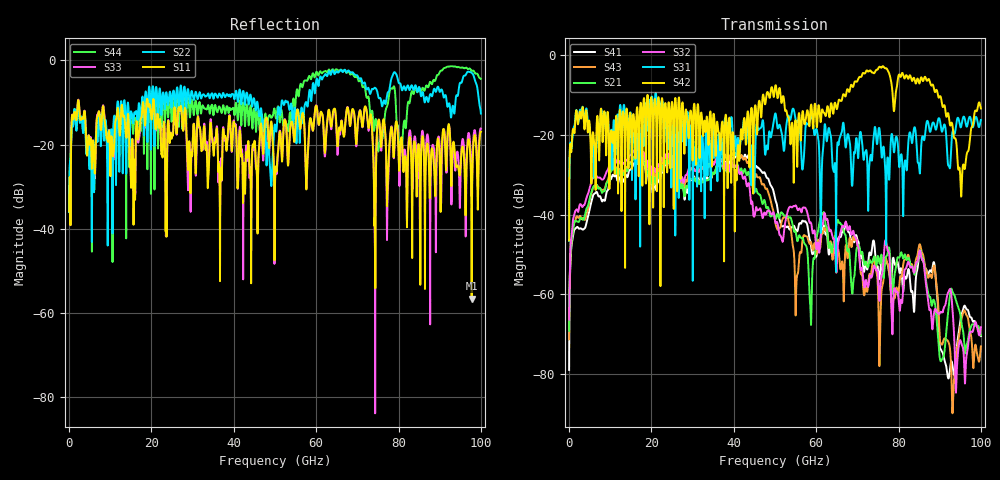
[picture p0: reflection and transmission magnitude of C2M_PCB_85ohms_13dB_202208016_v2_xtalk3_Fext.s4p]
! Info: Touchstone file created by Circ.  Input file=Intel_C2M_200G_3p0in_202208016_staggered.circ
# Hz S RI R 50
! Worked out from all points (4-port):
!   10000 points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, 10 MHz to 100 GHz, reference 50 ohm
!   strongest paths, dB at 10 MHz, 25.01 GHz, 50.01 GHz, 75.01 GHz, 100 GHz:
!     S42: -46.5, -11.7, -8.0, -3.4, -13.3
!     S31: -46.6, -20.0, -14.7, -20.1, -16.2
!     S32: -66.4, -26.1, -41.5, -55.2, -68.4
!     S21: -69.2, -26.8, -40.8, -50.4, -70.3
!     S43: -71.4, -25.6, -41.6, -58.9, -73.2
!     S41: -79.1, -26.4, -36.0, -53.6, -70.6
!   lowest |S11| = -56.6 dB at 97.76 GHz (marker M1), VSWR 1.00, Z = 50.1 - j0.0531 ohm
!   |S11| at or under -10 dB: start of sweep to 2.123 GHz; 2.369 GHz to 17.9 GHz (15.54 GHz wide, 153 % of centre); 20.62 GHz to end of sweep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
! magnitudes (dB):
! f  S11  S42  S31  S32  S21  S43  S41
! 10 MHz  -35.9  -46.5  -46.6  -66.4  -69.2  -71.4  -79.1
! 6.25 GHz  -26.9  -23.5  -22.8  -30.2  -32.8  -32.7  -34.7
! 40.67 GHz  -19.8  -31.4  -25.2  -28.0  -27.8  -24.7  -25.2
! 55.24 GHz  -12.3  -20.8  -16.9  -38.1  -45.7  -56.7  -44.1
! 85.27 GHz  -40.9  -6.3  -28.4  -49.2  -48.9  -47.7  -49.6
! 97.76 GHz  -56.6  -18.0  -17.0  -69.5  -67.8  -71.7  -66.0
! 100 GHz  -16.9  -13.3  -16.2  -68.4  -70.3  -73.2  -70.6
